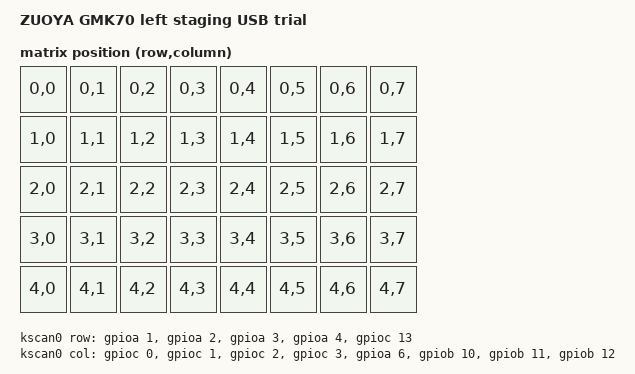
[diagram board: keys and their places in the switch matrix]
/* SPDX-License-Identifier: Apache-2.0 */
/dts-v1/;
#include <westberry/wb32fq95.dtsi>
#include <dt-bindings/zmk/matrix_transform.h>

/ {
    model = "ZUOYA GMK70 left staging USB trial";
    compatible = "zuoya,gmk70-left";
    chosen {
        zephyr,sram = &sram0;
        zephyr,flash = &flash0;
        zephyr,usb-device = &usb0;
        zmk,kscan = &kscan0;
        zmk,matrix-transform = &default_transform;
    };
    kscan0: kscan {
        compatible = "zmk,kscan-gpio-matrix";
        diode-direction = "row2col";
        debounce-press-ms = <5>;
        debounce-release-ms = <5>;
        poll-period-ms = <5>;
        row-gpios = <&gpioa 1 GPIO_ACTIVE_HIGH>, <&gpioa 2 GPIO_ACTIVE_HIGH>,
                    <&gpioa 3 GPIO_ACTIVE_HIGH>, <&gpioa 4 GPIO_ACTIVE_HIGH>,
                    <&gpioc 13 GPIO_ACTIVE_HIGH>;
        col-gpios = <&gpioc 0 (GPIO_ACTIVE_HIGH | GPIO_PULL_DOWN)>,
                    <&gpioc 1 (GPIO_ACTIVE_HIGH | GPIO_PULL_DOWN)>,
                    <&gpioc 2 (GPIO_ACTIVE_HIGH | GPIO_PULL_DOWN)>,
                    <&gpioc 3 (GPIO_ACTIVE_HIGH | GPIO_PULL_DOWN)>,
                    <&gpioa 6 (GPIO_ACTIVE_HIGH | GPIO_PULL_DOWN)>,
                    <&gpiob 10 (GPIO_ACTIVE_HIGH | GPIO_PULL_DOWN)>,
                    <&gpiob 11 (GPIO_ACTIVE_HIGH | GPIO_PULL_DOWN)>,
                    <&gpiob 12 (GPIO_ACTIVE_HIGH | GPIO_PULL_DOWN)>;
    };
    default_transform: keymap_transform {
        compatible = "zmk,matrix-transform";
        rows = <5>;
        columns = <8>;
        map = <
            RC(0,0) RC(0,1) RC(0,2) RC(0,3) RC(0,4) RC(0,5) RC(0,6) RC(0,7)
            RC(1,0) RC(1,1) RC(1,2) RC(1,3) RC(1,4) RC(1,5) RC(1,6) RC(1,7)
            RC(2,0) RC(2,1) RC(2,2) RC(2,3) RC(2,4) RC(2,5) RC(2,6) RC(2,7)
            RC(3,0) RC(3,1) RC(3,2) RC(3,3) RC(3,4) RC(3,5) RC(3,6) RC(3,7)
            RC(4,0) RC(4,1) RC(4,2) RC(4,3) RC(4,4) RC(4,5) RC(4,6) RC(4,7)
        >;
    };
};
&usb0 { status = "okay"; };
